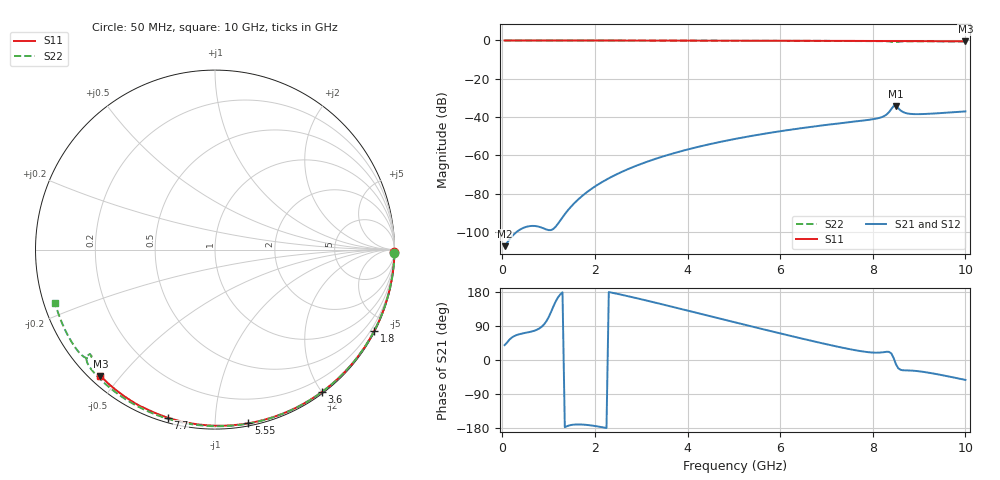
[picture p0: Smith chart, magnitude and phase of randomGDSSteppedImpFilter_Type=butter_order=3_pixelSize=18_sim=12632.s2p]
! freq	dB(S11)	phase(S11)	dB(S12)	phase(S12)
!  dB(S21)	phase(S21)	dB(S22)	phase(S22)
!S-par simulation data
#  GHz  S  DB  R 50
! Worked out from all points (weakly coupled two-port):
!   200 points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, 50 MHz to 10 GHz, reference 50 ohm
!   highest |S21| = -34.26 dB at 8.5 GHz (marker M1); lowest = -107.4 dB at 50 MHz (marker M2)
!   lowest |S11| = -0.4 dB at 10 GHz (marker M3), VSWR 39.02, Z = 1.53 - j22.1 ohm
!   |S11| at or under -10 dB: nowhere
!   |S22| runs from -0.8 to 0.0 dB; largest |S21 - S12| = 0
!   S11 on the Smith chart (normalised r, x): 50 MHz: open; 1.8 GHz: 0.04, -4.15; 3.6 GHz: 0.02, -2.01; 5.55 GHz: 0.02, -1.21; 7.7 GHz: 0.02, -0.76; 10 GHz: 0.03, -0.44
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0.05  -0.00 -0.8  -107.41 39.3  -107.41 39.3  -0.00 -1.0
0.85  -0.02 -12.9  -97.71 87.7  -97.71 87.7  -0.02 -16.0
1.75  -0.03 -26.4  -80.69 -170.5  -80.69 -170.5  -0.04 -32.6
1.8  -0.03 -27.1  -79.72 -171.0  -79.72 -171.0  -0.04 -33.6
2.1  -0.04 -31.5  -74.73 -176.1  -74.73 -176.1  -0.05 -39.0
2.5  -0.05 -37.3  -69.52 174.2  -69.52 174.2  -0.06 -46.1
2.9  -0.06 -43.1  -65.35 163.2  -65.35 163.2  -0.07 -53.2
3.4  -0.07 -50.2  -61.09 148.5  -61.09 148.5  -0.08 -61.8
3.6  -0.07 -53.0  -59.61 142.5  -59.61 142.5  -0.09 -65.2
4.3  -0.09 -62.6  -55.15 121.3  -55.15 121.3  -0.11 -76.8
5.05  -0.11 -72.6  -51.31 98.6  -51.31 98.6  -0.14 -88.8
5.55  -0.13 -79.1  -49.14 83.6  -49.14 83.6  -0.16 -96.6
6.7  -0.18 -93.6  -45.01 49.9  -45.01 49.9  -0.22 -114.0
7.7  -0.24 -105.7  -42.09 24.1  -42.09 24.1  -0.30 -128.8
8.15  -0.28 -111.0  -40.38 19.4  -40.38 19.4  -0.36 -135.8
8.25  -0.29 -112.1  -39.44 20.8  -39.44 20.8  -0.40 -137.6
8.35  -0.30 -113.2  -37.45 21.5  -37.45 21.5  -0.52 -139.5
8.45  -0.30 -114.3  -34.30 5.5  -34.30 5.5  -0.84 -140.1
8.5  -0.29 -114.9  -34.26 -11.1  -34.26 -11.1  -0.83 -139.1
8.65  -0.30 -116.8  -37.33 -27.1  -37.33 -27.1  -0.50 -140.8
8.85  -0.33 -119.1  -38.42 -28.0  -38.42 -28.0  -0.44 -144.2
10  -0.45 -132.2  -37.05 -52.6  -37.05 -52.6  -0.54 -161.4
